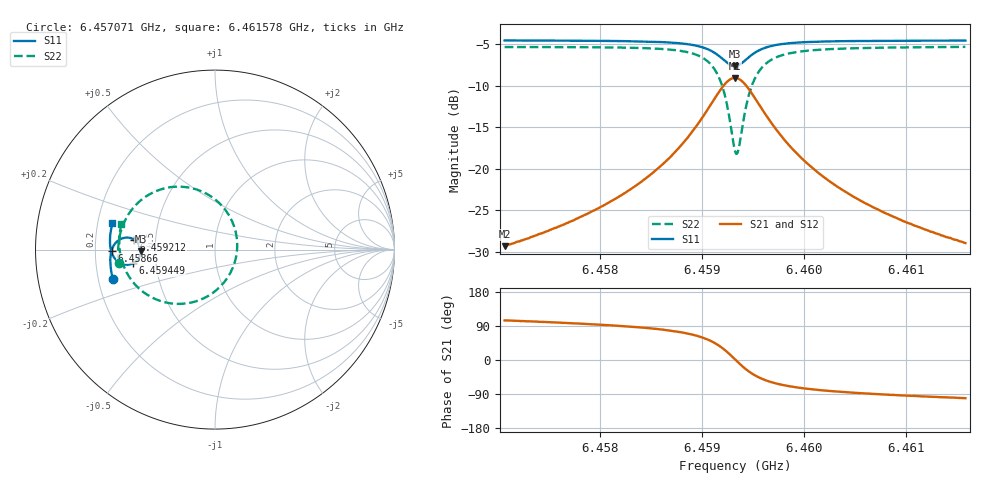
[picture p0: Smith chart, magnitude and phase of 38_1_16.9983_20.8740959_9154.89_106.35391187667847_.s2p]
#  HZ  S  RI  R  50.00
! Rohde & Schwarz Vector Network Analyzer
! Rohde-Schwarz,ZNB20-2Port,1311601062101988,3.16
! Created: UTC 3/20/2024, 10:53:46 PM
! freq[Hz]  re:S11  im:S11  re:S21  im:S21  re:S12  im:S12  re:S22  im:S22
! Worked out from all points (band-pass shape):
!   401 points, 6.457071 GHz to 6.461578 GHz, reference 50 ohm
!   highest |S21| = -9.06 dB at 6.459325 GHz (marker M1); lowest = -29.3 dB at 6.457071 GHz (marker M2)
!   |S21| within 3 dB of the highest: 6.459099 GHz to 6.459549 GHz (450.5 kHz wide, 0.00697 % of centre)
!   lowest |S11| = -7.7 dB at 6.459325 GHz (marker M3), VSWR 2.41, Z = 20.7 - j0.471 ohm
!   |S11| at or under -10 dB: nowhere
!   |S22| runs from -18.2 to -5.3 dB; largest |S21 - S12| = 0.014
!   S11 on the Smith chart (normalised r, x): 6.457071 GHz: 0.26, -0.13; 6.45866 GHz: 0.27, -0.00; 6.459212 GHz: 0.38, +0.05; 6.459449 GHz: 0.37, -0.07; 6.461578 GHz: 0.26, +0.12
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6.4570713e9  -0.5681 -0.1664  -0.00852 0.0332  -0.00693 0.0331  -0.535 -0.0756
6.4578262e9  -0.5811 -0.0999  -0.00517 0.0516  -0.00265 0.0508  -0.5387 0.0142
6.4582318e9  -0.5836 -0.0589  0.000898 0.0706  0.00407 0.0692  -0.5302 0.0793
6.4585811e9  -0.5793 -0.0166  0.0153 0.1005  0.0194 0.0978  -0.5028 0.1593
6.45866e9  -0.5765 -0.00557  0.0219 0.1107  0.0261 0.1073  -0.4903 0.183
6.4588516e9  -0.5627 0.0252  0.0508 0.1426  0.0549 0.1375  -0.4362 0.2537
6.4589868e9  -0.5405 0.0495  0.0949 0.1711  0.0979 0.1645  -0.3549 0.3135
6.459122e9  -0.4956 0.0668  0.184 0.1873  0.1849 0.1799  -0.1919 0.3504
6.4592121e9  -0.4502 0.0556  0.2755 0.1543  0.2758 0.1486  -0.0223 0.2963
6.4592797e9  -0.4209 0.0224  0.3365 0.0803  0.3389 0.0748  0.0934 0.162
6.4593248e9  -0.4141 -0.00942  0.3522 0.0107  0.3561 0.00354  0.1239 0.0319
6.4593586e9  -0.4183 -0.0336  0.3457 -0.0426  0.3496 -0.052  0.1104 -0.0694
6.4594037e9  -0.4345 -0.0601  0.3158 -0.1033  0.318 -0.1155  0.0496 -0.1836
6.4594487e9  -0.4571 -0.0767  0.2725 -0.1444  0.2715 -0.158  -0.0383 -0.2583
6.4595389e9  -0.5013 -0.0837  0.1859 -0.175  0.1795 -0.1868  -0.2105 -0.3025
6.4596065e9  -0.5259 -0.0762  0.1368 -0.1726  0.1286 -0.1816  -0.3049 -0.286
6.4596853e9  -0.5459 -0.063  0.0968 -0.1601  0.088 -0.1663  -0.3799 -0.2501
6.4598431e9  -0.5676 -0.0351  0.0516 -0.1314  0.0436 -0.1341  -0.4607 -0.1764
6.4600797e9  -0.5806 0.000356  0.0222 -0.0991  0.0163 -0.0996  -0.5083 -0.0927
6.4603952e9  -0.5852 0.0386  0.00678 -0.0731  0.00248 -0.0725  -0.5288 -0.0175
6.4608346e9  -0.5835 0.0833  -0.00175 -0.0528  -0.00451 -0.0518  -0.5334 0.0549
6.4615783e9  -0.5716 0.1495  -0.00668 -0.0351  -0.00842 -0.0342  -0.522 0.144
